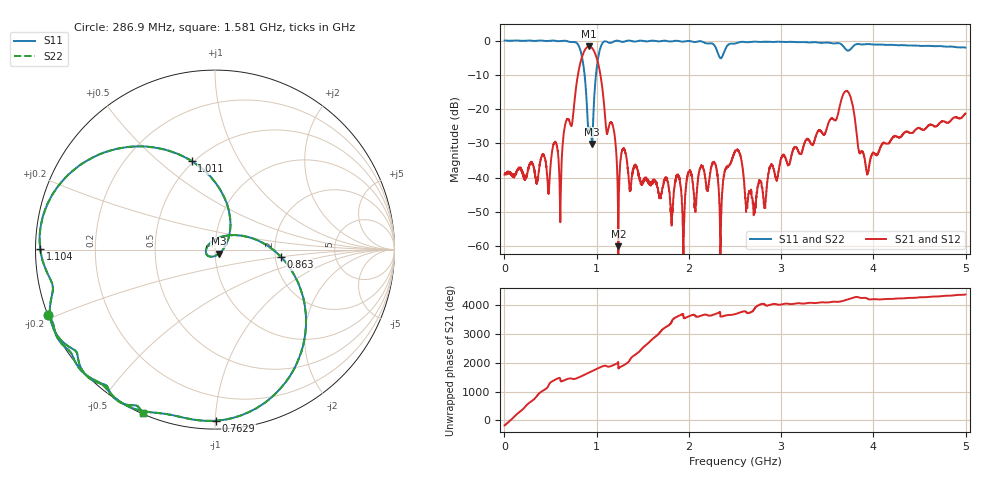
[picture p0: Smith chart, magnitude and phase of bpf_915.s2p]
! jPCBSim: Simulation Results For /home/radioactive/opt/Projects//bpf_915 Project.
! Warning: S12 and S22 are actually just S21 and S11.  This is only true if your device is port-to-port symetrical!
! Frequency  S11  S21  S12  S22
# MHz  S  RI R  50
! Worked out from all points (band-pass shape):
!   4095 points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, 1.221 MHz to 4.999 GHz, reference 50 ohm
!   highest |S21| = -1.65 dB at 918 MHz (marker M1); lowest = -60.0 dB at 1.235 GHz (marker M2)
!   |S21| within 3 dB of the highest: 841.7 MHz to 995 MHz (153.3 MHz wide, 16.7 % of centre)
!   lowest |S11| = -30.1 dB at 950.9 MHz (marker M3), VSWR 1.06, Z = 52.1 - j2.4 ohm
!   |S11| at or under -10 dB: 868.7 MHz to 991.9 MHz (123.2 MHz wide, 13.2 % of centre)
!   |S22| runs from -30.1 to 0.1 dB; largest |S21 - S12| = 0
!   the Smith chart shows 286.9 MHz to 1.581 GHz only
!   S11 on the Smith chart (normalised r, x): 286.9 MHz: -0.00, -0.19; 762.9 MHz: 0.05, -1.01; 863 MHz: 2.15, -0.20; 1.011 GHz: 0.49, +0.65; 1.104 GHz: 0.01, +0.00; 1.581 GHz: 0.01, -0.65
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1.221  -1.006 -0.002  -0.011 -0.001  -0.011 -0.001  -1.006 -0.002
286.865  -0.932 -0.364  0.006 -0.015  0.006 -0.015  -0.932 -0.364
604.248  -0.604 -0.776  0.003 -0  0.003 -0  -0.604 -0.776
762.939  0.007 -0.953  0.146 -0.002  0.146 -0.002  0.007 -0.953
834.961  0.507 -0.377  -0.022 0.546  -0.022 0.546  0.507 -0.377
863.037  0.368 -0.041  -0.488 0.493  -0.488 0.493  0.368 -0.041
917.969  -0.046 0.011  -0.638 -0.526  -0.638 -0.526  -0.046 0.011
950.928  0.021 -0.023  0.006 -0.777  0.006 -0.777  0.021 -0.023
1010.742  -0.129 0.493  0.495 0.013  0.495 0.013  -0.129 0.493
1103.516  -0.973 0.002  0.003 0.049  0.003 0.049  -0.973 0.002
1235.352  -0.857 -0.506  0.001 -0  0.001 -0  -0.857 -0.506
1580.811  -0.399 -0.908  -0.006 -0.006  -0.006 -0.006  -0.399 -0.908
1667.48  -0.257 -0.939  -0.002 0.006  -0.002 0.006  -0.257 -0.939
2119.141  0.55 -0.812  0.013 0.003  0.013 0.003  0.55 -0.812
2326.66  0.142 0.58  -0.004 0.004  -0.004 0.004  0.142 0.58
2500  -0.058 -0.906  0.003 0.024  0.003 0.024  -0.058 -0.906
2708.74  0.546 -0.801  -0.001 -0.003  -0.001 -0.003  0.546 -0.801
3333.74  0.903 0.276  -0.012 0.028  -0.012 0.028  0.903 0.276
3708.496  0.198 0.705  -0.144 -0.115  -0.144 -0.115  0.198 0.705
3933.105  -0.238 0.858  -0.001 -0.011  -0.001 -0.011  -0.238 0.858
4166.26  -0.765 0.41  -0.012 -0.029  -0.012 -0.029  -0.765 0.41
4998.779  0.589 -0.529  0.065 0.057  0.065 0.057  0.589 -0.529
